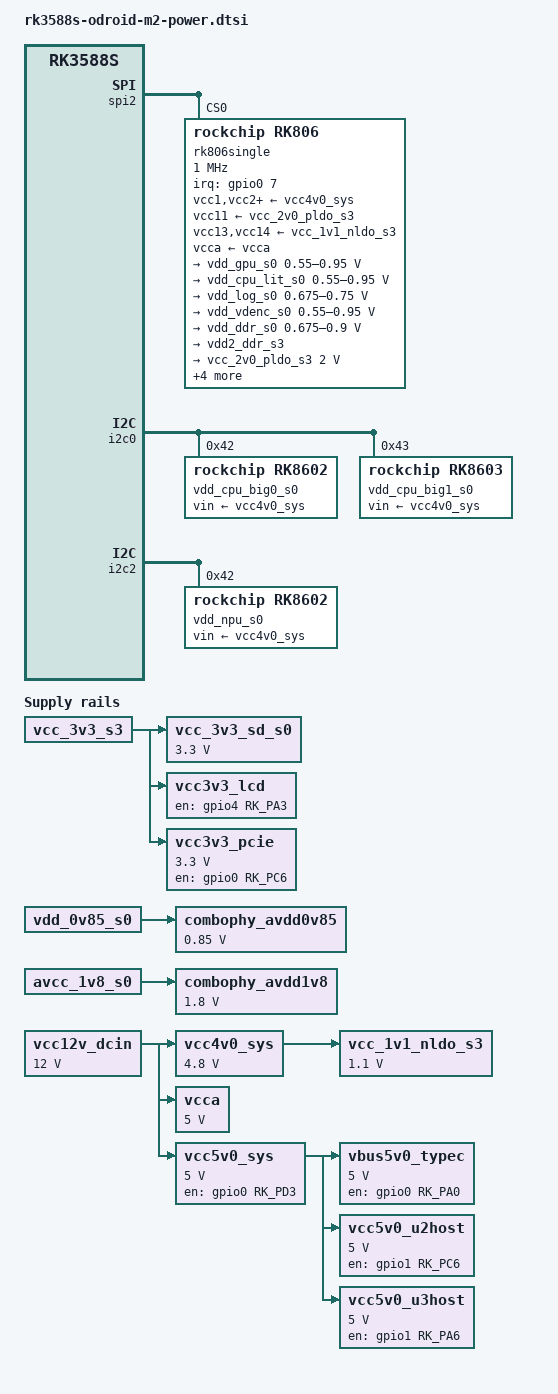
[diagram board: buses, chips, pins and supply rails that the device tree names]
// SPDX-License-Identifier: (GPL-2.0+ OR MIT)
/*
 * Copyright (c) 2024 Hardkernel Co., Ltd.
 *
 */

#include <dt-bindings/usb/pd.h>
#include <dt-bindings/gpio/gpio.h>
#include <dt-bindings/pwm/pwm.h>
#include <dt-bindings/pinctrl/rockchip.h>
#include <dt-bindings/input/rk-input.h>
#include <dt-bindings/display/drm_mipi_dsi.h>
#include <dt-bindings/display/rockchip_vop.h>
#include <dt-bindings/sensor-dev.h>

#include "rk3588s.dtsi"

/ {
	vcc12v_dcin: vcc12v-dcin {
		compatible = "regulator-fixed";
		regulator-name = "vcc12v_dcin";
		regulator-always-on;
		regulator-boot-on;
		regulator-min-microvolt = <12000000>;
		regulator-max-microvolt = <12000000>;
	};

	vcc4v0_sys: vcc4v0-sys {
		compatible = "regulator-fixed";
		regulator-name = "vcc4v0_sys";
		regulator-always-on;
		regulator-boot-on;
		regulator-min-microvolt = <4800000>;
		regulator-max-microvolt = <4800000>;
		vin-supply = <&vcc12v_dcin>;
	};

	vcca: vcca-in {
		compatible = "regulator-fixed";
		regulator-name = "vcca";
		regulator-always-on;
		regulator-boot-on;
		regulator-min-microvolt = <5000000>;
		regulator-max-microvolt = <5000000>;
		vin-supply = <&vcc12v_dcin>;
	};

	vcc5v0_sys: vcc5v0-sys {
		compatible = "regulator-fixed";
		regulator-name = "vcc5v0_sys";
		regulator-always-on;
		regulator-boot-on;
		regulator-min-microvolt = <5000000>;
		regulator-max-microvolt = <5000000>;
		enable-active-high;
		gpio = <&gpio0 RK_PD3 GPIO_ACTIVE_HIGH>;
		vin-supply = <&vcc12v_dcin>;
		pinctrl-names = "default";
		pinctrl-0 = <&vcc5v0_pwren>;
	};

	vbus5v0_typec: vbus5v0-typec {
		compatible = "regulator-fixed";
		regulator-name = "vbus5v0_typec";
		regulator-min-microvolt = <5000000>;
		regulator-max-microvolt = <5000000>;
		enable-active-high;
		gpio = <&gpio0 RK_PA0 GPIO_ACTIVE_HIGH>;
		vin-supply = <&vcc5v0_sys>;
		pinctrl-names = "default";
		pinctrl-0 = <&typec5v_pwren>;
	};

	vcc5v0_u2host: vcc5v0-u2host {
		compatible = "regulator-fixed";
		regulator-name = "vcc5v0_u2host";
		regulator-boot-on;
		regulator-always-on;
		regulator-min-microvolt = <5000000>;
		regulator-max-microvolt = <5000000>;
		enable-active-high;
		gpio = <&gpio1 RK_PC6 GPIO_ACTIVE_HIGH>;
		vin-supply = <&vcc5v0_sys>;
		pinctrl-names = "default";
		pinctrl-0 = <&vcc5v0_u2host_en>;
	};

	vcc5v0_u3host: vcc5v0-u3host {
		compatible = "regulator-fixed";
		regulator-name = "vcc5v0_u3host";
		regulator-boot-on;
		regulator-always-on;
		regulator-min-microvolt = <5000000>;
		regulator-max-microvolt = <5000000>;
		enable-active-high;
		gpio = <&gpio1 RK_PA6 GPIO_ACTIVE_HIGH>;
		vin-supply = <&vcc5v0_sys>;
		pinctrl-names = "default";
		pinctrl-0 = <&vcc5v0_u3host_en>;
	};

	vcc_1v1_nldo_s3: vcc-1v1-nldo-s3 {
		compatible = "regulator-fixed";
		regulator-name = "vcc_1v1_nldo_s3";
		regulator-always-on;
		regulator-boot-on;
		regulator-min-microvolt = <1100000>;
		regulator-max-microvolt = <1100000>;
		vin-supply = <&vcc4v0_sys>;
	};

	vcc_3v3_sd_s0: vcc-3v3-sd-s0 {
		compatible = "regulator-fixed";
		regulator-name = "vcc_3v3_sd_s0";
		regulator-boot-on;
		regulator-always-on;
		regulator-min-microvolt = <3300000>;
		regulator-max-microvolt = <3300000>;
		vin-supply = <&vcc_3v3_s3>;
		regulator-state-mem {
			regulator-off-in-suspend;
		};
	};

	vcc3v3_lcd: vcc3v3-lcd0-n {
		compatible = "regulator-fixed";
		regulator-name = "vcc3v3_lcd";
		gpio = <&gpio4 RK_PA3 GPIO_ACTIVE_HIGH>;
		pinctrl-names = "default";
		pinctrl-0 = <&lcd_pwren_en>;
		vin-supply = <&vcc_3v3_s3>;
		regulator-always-on;
		regulator-boot-on;
		enable-active-high;
	};

	vcc3v3_pcie: vcc3v3-pcie20 {
		compatible = "regulator-fixed";
		regulator-name = "vcc3v3_pcie";
		regulator-min-microvolt = <3300000>;
		regulator-max-microvolt = <3300000>;
		enable-active-high;
		gpios = <&gpio0 RK_PC6 GPIO_ACTIVE_HIGH>;
		startup-delay-us = <5000>;
		vin-supply = <&vcc_3v3_s3>;
		pinctrl-names = "default";
		pinctrl-0 = <&pcie_pwren>;
	};

	combophy_avdd0v85: combophy-avdd0v85 {
		compatible = "regulator-fixed";
		regulator-name = "combophy_avdd0v85";
		regulator-boot-on;
		regulator-always-on;
		regulator-min-microvolt = <850000>;
		regulator-max-microvolt = <850000>;
		vin-supply = <&vdd_0v85_s0>;
	};

	combophy_avdd1v8: combophy-avdd1v8 {
		compatible = "regulator-fixed";
		regulator-name = "combophy_avdd1v8";
		regulator-boot-on;
		regulator-always-on;
		regulator-min-microvolt = <1800000>;
		regulator-max-microvolt = <1800000>;
		vin-supply = <&avcc_1v8_s0>;
	};
};

&spi2 {
	status = "okay";
	assigned-clocks = <&cru CLK_SPI2>;
	assigned-clock-rates = <200000000>;
	pinctrl-names = "default";
	pinctrl-0 = <&spi2m2_cs0 &spi2m2_pins>;
	num-cs = <1>;

	rk806single: rk806single@0 {
		compatible = "rockchip,rk806";
		spi-max-frequency = <1000000>;
		reg = <0x0>;

		interrupt-parent = <&gpio0>;
		interrupts = <7 IRQ_TYPE_LEVEL_LOW>;

		pinctrl-names = "default", "pmic-power-off";
		pinctrl-0 = <&pmic_pins>, <&rk806_dvs1_null>,
			<&rk806_dvs2_null>, <&rk806_dvs3_null>;
		pinctrl-1 = <&rk806_dvs1_pwrdn>;

		/* 2800mv-3500mv */
		low_voltage_threshold = <3000>;
		/* 2700mv-3400mv */
		shutdown_voltage_threshold = <2700>;
		/* 140 160 */
		shutdown_temperture_threshold = <160>;
		hotdie_temperture_threshold = <115>;

		/* 0: restart PMU;
		 * 1: reset all the power off reset registers,
		 *    forcing the state to switch to ACTIVE mode;
		 * 2: Reset all the power off reset registers,
		 *    forcing the state to switch to ACTIVE mode,
		 *    and simultaneously pull down the RESETB PIN for 5mS before releasing
		 */
		pmic-reset-func = <1>;

		vcc1-supply = <&vcc4v0_sys>;
		vcc2-supply = <&vcc4v0_sys>;
		vcc3-supply = <&vcc4v0_sys>;
		vcc4-supply = <&vcc4v0_sys>;
		vcc5-supply = <&vcc4v0_sys>;
		vcc6-supply = <&vcc4v0_sys>;
		vcc7-supply = <&vcc4v0_sys>;
		vcc8-supply = <&vcc4v0_sys>;
		vcc9-supply = <&vcc4v0_sys>;
		vcc10-supply = <&vcc4v0_sys>;
		vcc11-supply = <&vcc_2v0_pldo_s3>;
		vcc12-supply = <&vcc4v0_sys>;
		vcc13-supply = <&vcc_1v1_nldo_s3>;
		vcc14-supply = <&vcc_1v1_nldo_s3>;
		vcca-supply = <&vcca>;

		pwrkey {
			status = "okay";
		};

		pinctrl_rk806: pinctrl_rk806 {
			gpio-controller;
			#gpio-cells = <2>;

			rk806_dvs1_null: rk806_dvs1_null {
				pins = "gpio_pwrctrl2";
				function = "pin_fun0";
			};

			rk806_dvs1_slp: rk806_dvs1_slp {
				pins = "gpio_pwrctrl1";
				function = "pin_fun1";
			};

			rk806_dvs1_pwrdn: rk806_dvs1_pwrdn {
				pins = "gpio_pwrctrl1";
				function = "pin_fun2";
			};

			rk806_dvs1_rst: rk806_dvs1_rst {
				pins = "gpio_pwrctrl1";
				function = "pin_fun3";
			};

			rk806_dvs2_null: rk806_dvs2_null {
				pins = "gpio_pwrctrl2";
				function = "pin_fun0";
			};

			rk806_dvs2_slp: rk806_dvs2_slp {
				pins = "gpio_pwrctrl2";
				function = "pin_fun1";
			};

			rk806_dvs2_pwrdn: rk806_dvs2_pwrdn {
				pins = "gpio_pwrctrl2";
				function = "pin_fun2";
			};

			rk806_dvs2_rst: rk806_dvs2_rst {
				pins = "gpio_pwrctrl2";
				function = "pin_fun3";
			};

			rk806_dvs2_dvs: rk806_dvs2_dvs {
				pins = "gpio_pwrctrl2";
				function = "pin_fun4";
			};

			rk806_dvs2_gpio: rk806_dvs2_gpio {
				pins = "gpio_pwrctrl2";
				function = "pin_fun5";
			};

			rk806_dvs3_null: rk806_dvs3_null {
				pins = "gpio_pwrctrl3";
				function = "pin_fun0";
			};

			rk806_dvs3_slp: rk806_dvs3_slp {
				pins = "gpio_pwrctrl3";
				function = "pin_fun1";
			};

			rk806_dvs3_pwrdn: rk806_dvs3_pwrdn {
				pins = "gpio_pwrctrl3";
				function = "pin_fun2";
			};

			rk806_dvs3_rst: rk806_dvs3_rst {
				pins = "gpio_pwrctrl3";
				function = "pin_fun3";
			};

			rk806_dvs3_dvs: rk806_dvs3_dvs {
				pins = "gpio_pwrctrl3";
				function = "pin_fun4";
			};

			rk806_dvs3_gpio: rk806_dvs3_gpio {
				pins = "gpio_pwrctrl3";
				function = "pin_fun5";
			};
		};

		regulators {
			vdd_gpu_s0: vdd_gpu_mem_s0: DCDC_REG1 {
				regulator-boot-on;
				regulator-min-microvolt = <550000>;
				regulator-max-microvolt = <950000>;
				regulator-ramp-delay = <12500>;
				regulator-name = "vdd_gpu_s0";
				regulator-enable-ramp-delay = <400>;
				regulator-state-mem {
					regulator-off-in-suspend;
				};
			};

			vdd_cpu_lit_s0: vdd_cpu_lit_mem_s0: DCDC_REG2 {
				regulator-always-on;
				regulator-boot-on;
				regulator-min-microvolt = <550000>;
				regulator-max-microvolt = <950000>;
				regulator-ramp-delay = <12500>;
				regulator-name = "vdd_cpu_lit_s0";
				regulator-state-mem {
					regulator-off-in-suspend;
				};
			};

			vdd_log_s0: DCDC_REG3 {
				regulator-always-on;
				regulator-boot-on;
				regulator-min-microvolt = <675000>;
				regulator-max-microvolt = <750000>;
				regulator-ramp-delay = <12500>;
				regulator-name = "vdd_log_s0";
				regulator-state-mem {
					regulator-off-in-suspend;
					regulator-suspend-microvolt = <750000>;
				};
			};

			vdd_vdenc_s0: vdd_vdenc_mem_s0: DCDC_REG4 {
				regulator-always-on;
				regulator-boot-on;
				regulator-min-microvolt = <550000>;
				regulator-max-microvolt = <950000>;
				regulator-init-microvolt = <750000>;
				regulator-ramp-delay = <12500>;
				regulator-name = "vdd_vdenc_s0";
				regulator-state-mem {
					regulator-off-in-suspend;
				};
			};

			vdd_ddr_s0: DCDC_REG5 {
				regulator-always-on;
				regulator-boot-on;
				regulator-min-microvolt = <675000>;
				regulator-max-microvolt = <900000>;
				regulator-init-microvolt = <850000>;
				regulator-ramp-delay = <12500>;
				regulator-name = "vdd_ddr_s0";
				regulator-state-mem {
					regulator-off-in-suspend;
					regulator-suspend-microvolt = <850000>;
				};
			};

			vdd2_ddr_s3: DCDC_REG6 {
				regulator-always-on;
				regulator-boot-on;
				regulator-name = "vdd2_ddr_s3";
				regulator-state-mem {
					regulator-on-in-suspend;
				};
			};

			vcc_2v0_pldo_s3: DCDC_REG7 {
				regulator-always-on;
				regulator-boot-on;
				regulator-min-microvolt = <2000000>;
				regulator-max-microvolt = <2000000>;
				regulator-name = "vdd_2v0_pldo_s3";
				regulator-state-mem {
					regulator-on-in-suspend;
					regulator-suspend-microvolt = <2000000>;
				};
			};

			vcc_3v3_s3: DCDC_REG8 {
				regulator-always-on;
				regulator-boot-on;
				regulator-min-microvolt = <3300000>;
				regulator-max-microvolt = <3300000>;
				regulator-name = "vcc_3v3_s3";
				regulator-state-mem {
					regulator-on-in-suspend;
					regulator-suspend-microvolt = <3300000>;
				};
			};

			vddq_ddr_s0: DCDC_REG9 {
				regulator-always-on;
				regulator-boot-on;
				regulator-name = "vddq_ddr_s0";
				regulator-state-mem {
					regulator-off-in-suspend;
				};
			};

			vcc_1v8_s3: DCDC_REG10 {
				regulator-always-on;
				regulator-boot-on;
				regulator-min-microvolt = <1800000>;
				regulator-max-microvolt = <1800000>;
				regulator-name = "vcc_1v8_s3";
				regulator-state-mem {
					regulator-on-in-suspend;
					regulator-suspend-microvolt = <1800000>;
				};
			};

			avcc_1v8_s0: PLDO_REG1 {
				regulator-always-on;
				regulator-boot-on;
				regulator-min-microvolt = <1800000>;
				regulator-max-microvolt = <1800000>;
				regulator-name = "avcc_1v8_s0";
				regulator-state-mem {
					regulator-off-in-suspend;
				};
			};

			vcc_1v8_s0: PLDO_REG2 {
				regulator-always-on;
				regulator-boot-on;
				regulator-min-microvolt = <1800000>;
				regulator-max-microvolt = <1800000>;
				regulator-name = "vcc_1v8_s0";
				regulator-state-mem {
					regulator-off-in-suspend;
					regulator-suspend-microvolt = <1800000>;
				};
			};

			avdd_1v2_s0: PLDO_REG3 {
				regulator-always-on;
				regulator-boot-on;
				regulator-min-microvolt = <1200000>;
				regulator-max-microvolt = <1200000>;
				regulator-name = "avdd_1v2_s0";
				regulator-state-mem {
					regulator-off-in-suspend;
				};
			};

			vcc_3v3_s0: PLDO_REG4 {
				regulator-always-on;
				regulator-boot-on;
				regulator-min-microvolt = <3300000>;
				regulator-max-microvolt = <3300000>;
				regulator-name = "vcc_3v3_s0";
				regulator-state-mem {
					regulator-off-in-suspend;
				};
			};

			vccio_sd_s0: PLDO_REG5 {
				regulator-always-on;
				regulator-boot-on;
				regulator-min-microvolt = <1800000>;
				regulator-max-microvolt = <3300000>;
				regulator-name = "vccio_sd_s0";
				regulator-ramp-delay = <800>;
				regulator-state-mem {
					regulator-off-in-suspend;
				};
			};

			pldo6_s3: PLDO_REG6 {
				regulator-always-on;
				regulator-boot-on;
				regulator-min-microvolt = <1800000>;
				regulator-max-microvolt = <1800000>;
				regulator-name = "pldo6_s3";
				regulator-state-mem {
					regulator-on-in-suspend;
					regulator-suspend-microvolt = <1800000>;
				};
			};

			vdd_0v75_s3: NLDO_REG1 {
				regulator-always-on;
				regulator-boot-on;
				regulator-min-microvolt = <750000>;
				regulator-max-microvolt = <750000>;
				regulator-name = "vdd_0v75_s3";
				regulator-state-mem {
					regulator-on-in-suspend;
					regulator-suspend-microvolt = <750000>;
				};
			};

			vdd_ddr_pll_s0: NLDO_REG2 {
				regulator-always-on;
				regulator-boot-on;
				regulator-min-microvolt = <900000>;
				regulator-max-microvolt = <900000>;
				regulator-name = "vdd_ddr_pll_s0";
				regulator-state-mem {
					regulator-off-in-suspend;
					regulator-suspend-microvolt = <850000>;
				};
			};

			avdd_0v75_s0: NLDO_REG3 {
				regulator-always-on;
				regulator-boot-on;
				regulator-min-microvolt = <837500>;
				regulator-max-microvolt = <837500>;
				regulator-name = "avdd_0v75_s0";
				regulator-state-mem {
					regulator-off-in-suspend;
				};
			};

			vdd_0v85_s0: NLDO_REG4 {
				regulator-always-on;
				regulator-boot-on;
				regulator-min-microvolt = <850000>;
				regulator-max-microvolt = <850000>;
				regulator-name = "vdd_0v85_s0";
				regulator-state-mem {
					regulator-off-in-suspend;
				};
			};

			vdd_0v75_s0: NLDO_REG5 {
				regulator-always-on;
				regulator-boot-on;
				regulator-min-microvolt = <750000>;
				regulator-max-microvolt = <750000>;
				regulator-name = "vdd_0v75_s0";
				regulator-state-mem {
					regulator-off-in-suspend;
				};
			};
		};
	};
};

&i2c0 {
	status = "okay";
	pinctrl-names = "default";
	pinctrl-0 = <&i2c0m2_xfer>;

	vdd_cpu_big0_s0: vdd_cpu_big0_mem_s0: rk8602@42 {
		compatible = "rockchip,rk8602";
		reg = <0x42>;
		vin-supply = <&vcc4v0_sys>;
		regulator-compatible = "rk860x-reg";
		regulator-name = "vdd_cpu_big0_s0";
		regulator-min-microvolt = <550000>;
		regulator-max-microvolt = <1050000>;
		regulator-ramp-delay = <2300>;
		rockchip,suspend-voltage-selector = <1>;
		regulator-boot-on;
		regulator-always-on;
		regulator-state-mem {
			regulator-off-in-suspend;
		};
	};

	vdd_cpu_big1_s0: vdd_cpu_big1_mem_s0: rk8603@43 {
		compatible = "rockchip,rk8603";
		reg = <0x43>;
		vin-supply = <&vcc4v0_sys>;
		regulator-compatible = "rk860x-reg";
		regulator-name = "vdd_cpu_big1_s0";
		regulator-min-microvolt = <550000>;
		regulator-max-microvolt = <1050000>;
		regulator-ramp-delay = <2300>;
		rockchip,suspend-voltage-selector = <1>;
		regulator-boot-on;
		regulator-always-on;
		regulator-state-mem {
			regulator-off-in-suspend;
		};
	};
};

&i2c2 {
	status = "okay";
	pinctrl-names = "default";
	pinctrl-0 = <&i2c2m0_xfer>;

	vdd_npu_s0: vdd_npu_mem_s0: rk8602@42 {
		compatible = "rockchip,rk8602";
		reg = <0x42>;
		vin-supply = <&vcc4v0_sys>;
		regulator-compatible = "rk860x-reg";
		regulator-name = "vdd_npu_s0";
		regulator-min-microvolt = <550000>;
		regulator-max-microvolt = <950000>;
		regulator-ramp-delay = <2300>;
		rockchip,suspend-voltage-selector = <1>;
		regulator-boot-on;
		regulator-always-on;
		regulator-state-mem {
			regulator-off-in-suspend;
		};
	};
};

&pinctrl {
	regulators {
		vcc5v0_pwren: vcc5v0-pwren {
			rockchip,pins = <0 RK_PD3 RK_FUNC_GPIO &pcfg_output_high_pull_none>;
		};
		vcc5v0_u3host_en: vcc5v0-usb3-en {
			rockchip,pins = <1 RK_PA6 RK_FUNC_GPIO &pcfg_pull_none>;
		};
		vcc5v0_u2host_en: vcc5v0-usb2-en {
			rockchip,pins = <1 RK_PC6 RK_FUNC_GPIO &pcfg_pull_none>;
		};
		typec5v_pwren: typec5v-pwren {
			rockchip,pins = <0 RK_PA0 RK_FUNC_GPIO &pcfg_pull_none>;
		};

		lcd_pwren_en: lcd-pwren {
			rockchip,pins = <4 RK_PA3 RK_FUNC_GPIO &pcfg_pull_none>;
		};

		pcie_pwren: pcie-pwren {
			rockchip,pins = <0 RK_PC6 RK_FUNC_GPIO &pcfg_pull_none>;
		};
	};
};
